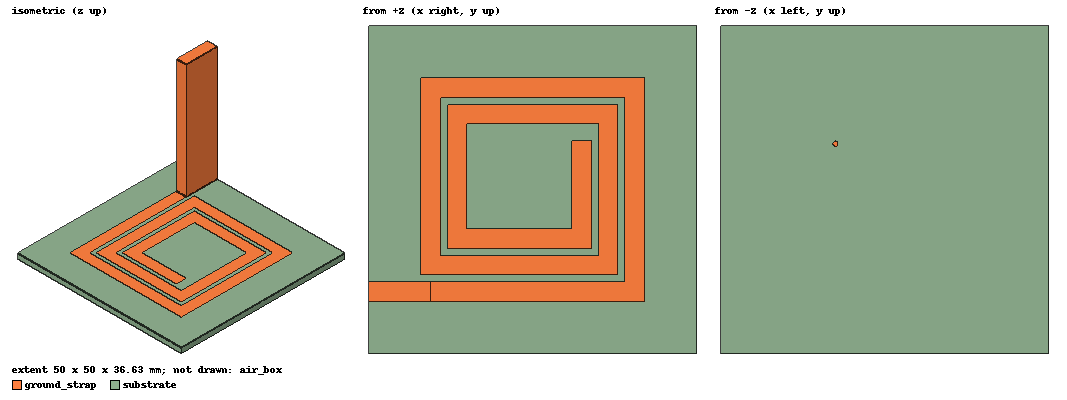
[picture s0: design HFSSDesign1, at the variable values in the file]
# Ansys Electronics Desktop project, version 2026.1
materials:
  vacuum: permittivity=1
  copper: permeability=0.999991 conductivity=58000000
  FR4_epoxy: permittivity=4.4 dielectric_loss_tangent=0.02

design HFSSDesign1 (HFSS, HFSS Terminal Network, model units mm)
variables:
  h = 1.6mm
  t = 0.035mm
  er = 4.4
  w = 3mm
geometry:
  ground = box(corner=(0mm, 0mm, 0mm), size=(50mm, 50mm, 0.035mm))
  spiral = polyline(z=1.6525mm, xy in mm: (9.5, 9.5) (40.5, 9.5) (40.5, 40.5) (9.5, 40.5) (9.5, 13.5) (36.5, 13.5) (36.5, 36.5) (13.5, 36.5) (13.5, 17.5) (32.5, 17.5) (32.5, 32.5), section rectangle width=w height=t)
  substrate [FR4_epoxy] = box(corner=(0mm, 0mm, 0mm), size=(50mm, 50mm, h))
  ground_cutout = box(corner=(8mm, 8mm, 0mm), size=(34mm, 34mm, h))
  ground.subtract(ground_cutout)
  Box1 = box(corner=(9.5mm, 11mm, 1.63mm), size=(-9.5mm, -3mm, 0.035m))
  spiral.unite(Box1)
  Rectangle1 = rectangle(corner=(0mm, 11mm, 1.665mm), y_size=-w, z_size=-h)
  ground_strap [copper] = box(corner=(32mm, 31mm, 0), size=(12mm, 2mm, 0.035mm))
  via = cylinder(axis=Z, base_centre=(32.5mm, 32mm, 0mm), radius=0.4mm, height=1.67mm)
  air_box [vacuum] = box(corner=(-100+(75) mm, -100+(75) mm, -15mm), size=(100mm, 100mm, 30mm))
  via_1 = via.copy()
  substrate.subtract(via_1)
  ground_strap.unite(spiral, via)
  ground_strap.unite(ground)
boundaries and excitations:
  Rad1: Radiation Objects=air_box
  1: Lumped Port Objects=Rectangle1 LumpedPortType=Modal Modes{Mode1{IntLine{(0, 9.5, 1.665) -> (0, 9.5, 0.065)} CharImp=Zpi RenormImp=50ohm}} Impedance=50ohm
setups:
  Setup1: HfssDriven Frequency=1.5GHz MaxDeltaS=0.02 MaximumPasses=6 MinimumPasses=1 MinimumConvergedPasses=1 PercentRefinement=30 BasisOrder=1 PortAccuracy=2 DrivenSolverType="Direct Solver"
    sweep Sweep: 10MHz to 1.5GHz, 401 points; Type=Interpolating InterpTolerance=0.5 InterpMaxSolns=250 PassivityErrorTolerance=0.0001
    sweep Single_100MHz: point 100MHz; Type=Discrete SaveFields
    sweep Single_632MHz: point 632MHz; Type=Discrete SaveFields
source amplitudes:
  1:1: 1V 0deg
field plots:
  Mag_Jsurf1_100MHz: Jsurf over ground_strap.face(+z, -y, -x, +y, -z, at (32.5, 32.5, 1.6525), at (9.5, 9.5, 1.6675), at (34, 24.25, 1.6525), at (31, 25.75, 1.6525), at (23, 19, 1.6525), at (23, 16, 1.6525), at (15, 27, 1.6525)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) on Setup1 : LastAdaptive at Freq=1.5GHz Phase=0deg
  Mag_Jsurf2_632MHz: Jsurf over ground_strap.face(all 43) on Setup1 : Single_632MHz at Freq=0.632GHz Phase=0deg
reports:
  S11 vs. Frequency: dB(S(1,1)) vs Freq on Setup1 : Sweep; markers m1 at 0.15155GHz, m2 at 0.632075GHz, m3 at 0.9636GHz, m4 at 1.23925GHz, m5 at 1.339825GHz
  Im(Z11) vs. frequency: im(Z(1,1)) vs Freq on Setup1 : Sweep
  inductance L(f) vs. frequency: im(Z(1,1))/(2*pi*Freq) vs Freq on Setup1 : Sweep
  Resistance R(f) vs. frequency: re(Z(1,1)) vs Freq on Setup1 : Sweep
  Quality factor Q(f) vs. frequency: abs(im(Z(1,1)))/re(Z(1,1)) vs Freq on Setup1 : Sweep
